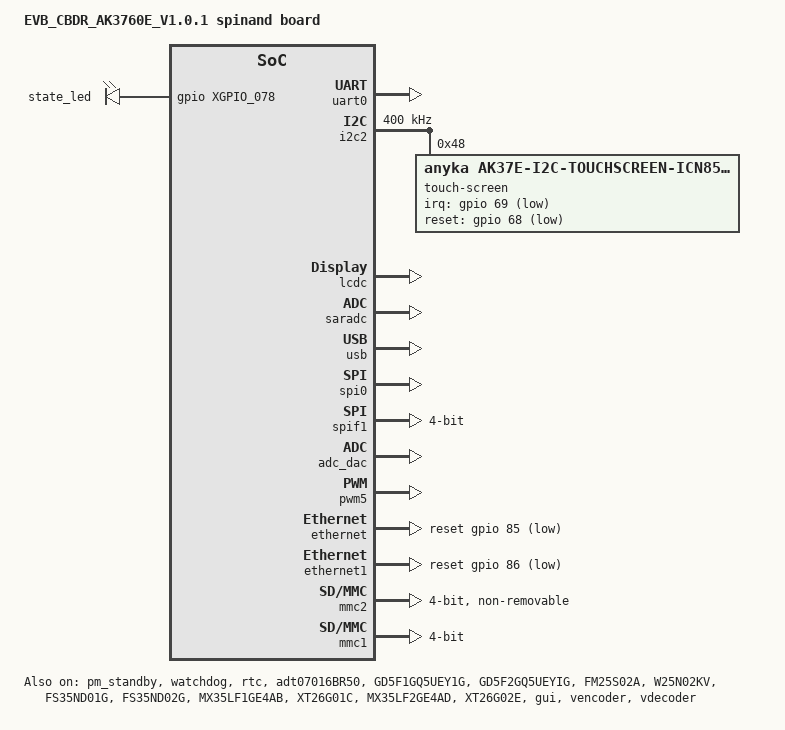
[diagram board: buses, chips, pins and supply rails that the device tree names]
/*
 * Anycloud37e dev board dts
 *
 * Copyright (C) 2020 Anyka(Guangzhou) Microelectronics Technology Co., Ltd.
 *
 * This program is free software; you can redistribute it and/or modify
 * it under the terms of the GNU General Public License as published by
 * the Free Software Foundation; either version 2 of the License, or
 * (at your option) any later version.
 *
 * This program is distributed in the hope that it will be useful,
 * but WITHOUT ANY WARRANTY; without even the implied warranty of
 * MERCHANTABILITY or FITNESS FOR A PARTICULAR PURPOSE.  See the
 * GNU General Public License for more details.
 */

/dts-v1/;
#include "anycloud_ak37e.dtsi"
#include "anycloud_nandflash.dtsi"
#include "anycloud_lcd.dtsi"

/ {
    compatible = "anyka,ak3760e";
    model = "EVB_CBDR_AK3760E_V1.0.1 spinand board";
    version = "V1.0.00";
};

&gpio {
    /*
    * "anyka,function": func index, please refer to dt-bindings/pinctrl/ak_37e_pinctrl.h
    * "anyka,pull": configuration of the pins
    * bit[7:0]: pull up/down configuration
    *     bit[0]: pull up or pull down selection, 1 means select pull down, 0 means select pull up
    *     bit[4]: pull up or pull down enable, 1 means enable pull up&down function, 0 means disable fuction
    * !!! Notice that not all pin support pull up and pull down. Please refer to the programer's guide.
    * bit[15:8]: driver strength configuration.
    *     bit[9:8] drive strength.
    * bit[23:16]: input enable configuration
    *     bit[16]: 1 means enable input, 0 means disable input.
    * bit[31:24]: pin slew rate configuration
    *     bit[24]: 1 means enable slew rate, 0 means disable slew rate.
    * !!! Notice OTHER bits which not mentioned please set to 0.
    */

    /* LCD Panel backlight pin. */
    pwm5_pins: pwm5_pins {
        anyka,pins = <XGPIO_027>;
        anyka,function = <XGPIO_027_FUNC_PWM5>;
        anyka,pull = <0x1000190>;
    };

    pwm5_pins_sleep: pwm5_pins_sleep {
        anyka,pins = <XGPIO_027>;
        anyka,function = <XGPIO_027_FUNC_GPIO27>;
        anyka,pull = <0x00000000>;
    };

    pwm5_pins_idle: pwm5_pins_idle {
        anyka,pins = <XGPIO_027>;
        anyka,function = <XGPIO_027_FUNC_GPIO27>;
        anyka,pull = <0x00000000>;
    };

    /*7 inch Touch Screen  */
    icn85xx_pins: icn85xx_pins {
        anyka,pins = <XGPIO_068 XGPIO_069>;
        anyka,function = <XGPIO_068_FUNC_GPIO68 XGPIO_069_FUNC_GPIO69>;
        anyka,pull = <0x00000010 0x00010010>;
    };

    /*10 inch Touch Screen  */
    gslX680_pins: gslX680_pins {
        anyka,pins = <XGPIO_044 XGPIO_045>;
        anyka,function = <XGPIO_044_FUNC_GPIO44 XGPIO_045_FUNC_GPIO45>;
        anyka,pull = <0x00000010 0x00010010>;
    };

    i2c0_pins: i2c0_pins {
        anyka,pins = <XGPIO_030 XGPIO_031>;
        anyka,function = <XGPIO_030_FUNC_TWI0_SCL XGPIO_031_FUNC_TWI0_SDA>;
        anyka,pull = <0x1010010>;
    };

    /* i2c0_sleep_pins means: pull up or pull down disable; ie disable */
    i2c0_sleep_pins: i2c0_sleep_pins {
        anyka,pins = <XGPIO_030 XGPIO_031>;
        anyka,function = <XGPIO_030_FUNC_GPIO30 XGPIO_031_FUNC_GPIO31>;
        anyka,pull = <0x0000000>;
    };

    i2c2_pins: i2c2_pins {
        anyka,pins = <XGPIO_084 XGPIO_083>;
        anyka,function = <XGPIO_084_FUNC_TWI2_SDA XGPIO_083_FUNC_TWI2_SCL>;
        anyka,pull = <0x1010010>;
    };

    /* i2c2_sleep_pins means: pull up or pull down disable; ie disable */
    i2c2_sleep_pins: i2c2_sleep_pins {
        anyka,pins = <XGPIO_084 XGPIO_083>;
        anyka,function = <XGPIO_084_FUNC_GPIO84 XGPIO_083_FUNC_GPIO83>;
        anyka,pull = <0x0000000>;
    };

    lcd_reset_pins: lcd_reset_pins {
        anyka,pins = <XGPIO_026>;
        anyka,function = <XGPIO_026_FUNC_GPIO26>;
        anyka,pull = <0x01000010>;
    };

    lcd_rgb_pins: lcd_rgb_pins {
        anyka,pins = <XGPIO_074
                        XGPIO_075
                        XGPIO_025
                        XGPIO_024
                        XGPIO_028
                        XGPIO_029
                        XGPIO_055
                        XGPIO_054
                        XGPIO_053
                        XGPIO_052
                        XGPIO_051
                        XGPIO_050
                        XGPIO_049
                        XGPIO_048
                        XGPIO_047
                        XGPIO_046
                        XGPIO_045
                        XGPIO_044
                        XGPIO_043
                        XGPIO_042
                        XGPIO_041
                        XGPIO_040
                        XGPIO_039
                        XGPIO_038
                        XGPIO_037
                        XGPIO_036
                        XGPIO_035
                        XGPIO_034>;
        anyka,function = <XGPIO_074_FUNC_RGB_D23
                            XGPIO_075_FUNC_RGB_D22
                            XGPIO_025_FUNC_RGB_D21
                            XGPIO_024_FUNC_RGB_D20
                            XGPIO_028_FUNC_RGB_D19
                            XGPIO_029_FUNC_RGB_D18
                            XGPIO_055_FUNC_RGB_D17
                            XGPIO_054_FUNC_RGB_D16
                            XGPIO_053_FUNC_RGB_D15
                            XGPIO_052_FUNC_RGB_D14
                            XGPIO_051_FUNC_RGB_D13
                            XGPIO_050_FUNC_RGB_D12
                            XGPIO_049_FUNC_RGB_D11
                            XGPIO_048_FUNC_RGB_D10
                            XGPIO_047_FUNC_RGB_D9
                            XGPIO_046_FUNC_RGB_D8
                            XGPIO_045_FUNC_RGB_D7
                            XGPIO_044_FUNC_RGB_D6
                            XGPIO_043_FUNC_RGB_D5
                            XGPIO_042_FUNC_RGB_D4
                            XGPIO_041_FUNC_RGB_D3
                            XGPIO_040_FUNC_RGB_D2
                            XGPIO_039_FUNC_RGB_D1
                            XGPIO_038_FUNC_RGB_D0
                            XGPIO_037_FUNC_RGB_VOPCLK
                            XGPIO_036_FUNC_RGB_VOHSYNC
                            XGPIO_035_FUNC_RGB_VOVSYNC
                            XGPIO_034_FUNC_RGB_VOGATE
                            >;
        anyka,pull = <0x00000010
                        0x00000010
                        0x00000010
                        0x00000010
                        0x00000010
                        0x00000010
                        0x00000010
                        0x00000010
                        0x00000010
                        0x00000010
                        0x00000010
                        0x00000010
                        0x00000010
                        0x00000010
                        0x00000010
                        0x00000010
                        0x00000010
                        0x00000010
                        0x00000010
                        0x00000010
                        0x00000010
                        0x00000010
                        0x00000010
                        0x00000010
                        0x00000010
                        0x00000010
                        0x00000010
                        0x00000010>;
    };

    lcd_rgb_pins_sleep: lcd_rgb_pins_sleep {
        anyka,pins = <XGPIO_074
                        XGPIO_075
                        XGPIO_025
                        XGPIO_024
                        XGPIO_028
                        XGPIO_029
                        XGPIO_055
                        XGPIO_054
                        XGPIO_053
                        XGPIO_052
                        XGPIO_051
                        XGPIO_050
                        XGPIO_049
                        XGPIO_048
                        XGPIO_047
                        XGPIO_046
                        XGPIO_045
                        XGPIO_044
                        XGPIO_043
                        XGPIO_042
                        XGPIO_041
                        XGPIO_040
                        XGPIO_039
                        XGPIO_038
                        XGPIO_037
                        XGPIO_036
                        XGPIO_035
                        XGPIO_034>;
        anyka,function = <XGPIO_074_FUNC_GPIO74
                            XGPIO_075_FUNC_GPIO75
                            XGPIO_025_FUNC_GPIO25
                            XGPIO_024_FUNC_GPIO24
                            XGPIO_028_FUNC_GPIO28
                            XGPIO_029_FUNC_GPIO29
                            XGPIO_055_FUNC_GPIO55
                            XGPIO_054_FUNC_GPIO54
                            XGPIO_053_FUNC_GPIO53
                            XGPIO_052_FUNC_GPIO52
                            XGPIO_051_FUNC_GPIO51
                            XGPIO_050_FUNC_GPIO50
                            XGPIO_049_FUNC_GPIO49
                            XGPIO_048_FUNC_GPIO48
                            XGPIO_047_FUNC_GPIO47
                            XGPIO_046_FUNC_GPIO46
                            XGPIO_045_FUNC_GPIO45
                            XGPIO_044_FUNC_GPIO44
                            XGPIO_043_FUNC_GPIO43
                            XGPIO_042_FUNC_GPIO42
                            XGPIO_041_FUNC_GPIO41
                            XGPIO_040_FUNC_GPIO40
                            XGPIO_039_FUNC_GPIO39
                            XGPIO_038_FUNC_GPIO38
                            XGPIO_037_FUNC_GPIO37
                            XGPIO_036_FUNC_GPIO36
                            XGPIO_035_FUNC_GPIO35
                            XGPIO_034_FUNC_GPIO34
                            >;
        anyka,pull = <0x00000000>;
    };

    lcd_power_pins: lcd_power_pins {
        anyka,pins = <XGPIO_073>;
        anyka,function = <XGPIO_073_FUNC_GPIO73>;
        anyka,pull = <0x00000010>;
    };

    mci2_pins: mci2_pins {
        anyka,pins = <XGPIO_058 XGPIO_059 XGPIO_060 XGPIO_061 XGPIO_062 XGPIO_063>;
        anyka,function = <  XGPIO_058_FUNC_SD2_D1
                            XGPIO_059_FUNC_SD2_D0
                            XGPIO_060_FUNC_SD2_MCLK
                            XGPIO_061_FUNC_SD2_CMD
                            XGPIO_062_FUNC_SD2_D3
                            XGPIO_063_FUNC_SD2_D2>;
        anyka,pull = <0x1010310>;
    };

    /* mci2_idle_pins  means: pull up or pull down disable; ie disable */
    mci2_idle_pins: mci2_idle_pins {
        anyka,pins = <XGPIO_058 XGPIO_059 XGPIO_060 XGPIO_061 XGPIO_062 XGPIO_063>;
        anyka,function = <  XGPIO_058_FUNC_GPIO58
                            XGPIO_059_FUNC_GPIO59
                            XGPIO_060_FUNC_GPIO60
                            XGPIO_061_FUNC_GPIO61
                            XGPIO_062_FUNC_GPIO62
                            XGPIO_063_FUNC_GPIO63>;
        anyka,pull = <0x00000000>;
    };

    wifi_en_pins: wifi_en_pins {
        anyka,pins = <XGPIO_077>;
        anyka,function = <XGPIO_077_FUNC_GPIO77>;
        anyka,pull = <0x1010310>;
    };

    wifi_rst_pins: wifi_rst_pins {
        anyka,pins = <XGPIO_071>;
        anyka,function = <XGPIO_071_FUNC_GPIO71>;
        anyka,pull = <0x1010310>;
    };

    mci1_pins: mci1_pins {
        anyka,pins = <XGPIO_016 XGPIO_017 XGPIO_018 XGPIO_019 XGPIO_020 XGPIO_021>;
        anyka,function = <XGPIO_016_FUNC_SD1_D1
                            XGPIO_017_FUNC_SD1_D0
                            XGPIO_018_FUNC_SD1_MCLK
                            XGPIO_019_FUNC_SD1_CMD
                            XGPIO_020_FUNC_SD1_D3
                            XGPIO_021_FUNC_SD1_D2>;
        anyka,pull = <0x00010010 0x00010010 0x00010001 0x00010010 0x00010010 0x00010010>;
    };

    /* mci1_idle_pins  means: pull up or pull down disable; ie disable */
    mci1_idle_pins: mci1_idle_pins {
        anyka,pins = <XGPIO_016 XGPIO_017 XGPIO_018 XGPIO_019 XGPIO_020 XGPIO_021>;
        anyka,function = <XGPIO_016_FUNC_GPIO16
                            XGPIO_017_FUNC_GPIO17
                            XGPIO_018_FUNC_GPIO18
                            XGPIO_019_FUNC_GPIO19
                            XGPIO_020_FUNC_GPIO20
                            XGPIO_021_FUNC_GPIO21>;
        anyka,pull = <0x00000000>;
    };

    tf_det_pins: tf_det_pins{
        anyka,pins = <XGPIO_076>;
        anyka,function = <XGPIO_076_FUNC_GPIO76>;
        anyka,pull = <0x1010310>;
    };

    tf_en_pins: tf_en_pins {
        anyka,pins = <XGPIO_079>;
        anyka,function = <XGPIO_079_FUNC_GPIO79>;
        anyka,pull = <0x1010310>;
    };

    led_pins:led_pins {
        anyka,pins = <XGPIO_078>;
        anyka,function = <XGPIO_078_FUNC_GPIO78>;
        anyka,pull = <0x00000010>;
    };

    led_pins_sleep:led_pins_sleep {
        anyka,pins = <XGPIO_078>;
        anyka,function = <XGPIO_078_FUNC_GPIO78>;
        anyka,pull = <0x00000000>;
    };

    speak_pins: speak_pins {
        anyka,pins = <XGPIO_072>;
        anyka,function = <XGPIO_072_FUNC_GPIO72>;
        anyka,pull = <0x00000010>;
    };

    speak_pins_sleep: speak_pins_sleep {
        anyka,pins = <XGPIO_072>;
        anyka,function = <XGPIO_072_FUNC_GPIO72>;
        anyka,pull = <0x00000000>;
    };


    dvp0_8bits_pins: dvp0_8bits_pins {
        anyka,pins = <XGPIO_060
                        XGPIO_061
                        XGPIO_062
                        XGPIO_063
                        XGPIO_064
                        XGPIO_065
                        XGPIO_066
                        XGPIO_067>;
        anyka,function = <XGPIO_060_FUNC_CSI0_D0
                        XGPIO_061_FUNC_CSI0_D1
                        XGPIO_062_FUNC_CSI0_D2
                        XGPIO_063_FUNC_CSI0_D3
                        XGPIO_064_FUNC_CSI0_D4
                        XGPIO_065_FUNC_CSI0_D5
                        XGPIO_066_FUNC_CSI0_D6
                        XGPIO_067_FUNC_CSI0_D7>;
        anyka,pull = <0x01010310>;
    };

    csi0_sclk_pin: csi0_sclk_pin {
        anyka,pins = <XGPIO_056
                        XGPIO_057
                        XGPIO_058
                        XGPIO_059>;
        anyka,function = <XGPIO_056_FUNC_CSI0_SCLK
                        XGPIO_057_FUNC_CSI0_PCLK
                        XGPIO_058_FUNC_CSI0_HSYNC
                        XGPIO_059_FUNC_CSI0_VSYNC>;
        anyka,pull = <0x01010310>;
    };

    sensor0_reset_pins: sensor0_reset_pins {
        anyka,pins = <XGPIO_032>;
        anyka,function = <XGPIO_032_FUNC_GPIO32>;
        anyka,pull = <0x01000110>;
    };

    sensor0_pwdn_pins: sensor0_pwdn_pins {
        anyka,pins = <XGPIO_071>;
        anyka,function = <XGPIO_071_FUNC_GPIO71>;
        anyka,pull = <0x01000110>;
    };

    pm_wakeup_pins: pm_wakeup_pins {
        anyka,pins = <XGPIO_031>;
        anyka,function = <XGPIO_031_FUNC_GPIO31>;
        anyka,pull = <0x01010210>;
    };
};

&pm_standby {
    pinctrl-names = "default";
    pinctrl-0 = <&pm_wakeup_pins>;

    /* linux kernel standby wakeup mode
    * wakeup mode:0x0:no_src, 0x1:GPIO, 0x2:rtc alarm, 0x3:ain0, 0x4:rtc timer
    */
    //wakeup-mode = <0x1>;
    wakeup-mode = <0x1 0x2 0x3 0x4>;

    wakeup-gpio = <&gpio XGPIO_031 1>;

    /*
    * wakeup gpio trigger: 0x0:rising-edge,0x1:falling-edge, 
    */
    wakeup-gpio-edge = <0x1>;

    /*
    * wakeup ain0 trigger: 0x0:falling-edge, 0x1:rising-edge
    */
    wakeup-ain0-edge = <0x0>;

    status = "okay";
};

&uart0 {
    pinctrl-names = "default";
    pinctrl-0 = <&uart0_pins>;
    status = "okay";
};

&watchdog {
    /*max feed dog time = 357s, default setting time = 10s. */
    def_heartbeat = <10>;
    status = "okay";
};

&rtc {
    /*
     * rtc osc_source_select, 1 means INTERNAL RC OSC, 0 means EXTERNAL XTAL
     * if internal RC OSC is used to generate 32KH,time adjustment should be setting.(basic unit: ms)
     */
    osc-select = <1>;
    adjust-time = <1000>;
    adjust-based-on-timer;
    status = "okay";
};

&i2c2 {
    pinctrl-names = "default","sleep";
    pinctrl-0 = <&i2c2_pins>;
    pinctrl-1 = <&i2c2_sleep_pins>;

    clock-frequency = <400000>;
    sda-delay = <100>;
    status = "okay";
    #address-cells = <1>;
    #size-cells = <0>;

    touch-screen@40 {
        compatible = "anyka,ak37e-i2c-touchscreen-gslX680";
        reg = <0x40>;

        /* 10 inch MIPI touch-pane irq and reset gpio setting */
        pinctrl-names = "default";
        pinctrl-0 = <&gslX680_pins>;
        irq-gpio = <&gpio 45 1>;
        reset-gpio = <&gpio 44 1>;
        TP_MAX_X = <1280>;
        TP_MAX_Y = <800>;
        status = "disable";
      };

      touch-screen@48 {
        compatible = "anyka,ak37e-i2c-touchscreen-icn85xx";
        reg = <0x48>;

        /* 7 inch RGB touch-pane irq and reset gpio setting */
        pinctrl-names = "default";
        pinctrl-0 = <&icn85xx_pins>;
        irq-gpio = <&gpio 69 1>;
        reset-gpio = <&gpio 68 1>;
        TP_MAX_X = <1024>;
        TP_MAX_Y = <600>;
        status = "okay";
      };
};

/* RGB panel*/
&lcdc {
    pinctrl-names = "default","sleep";
    pinctrl-0 = <&lcd_rgb_pins &lcd_reset_pins &lcd_power_pins>;
    pinctrl-1 = <&lcd_rgb_pins_sleep &lcd_reset_pins &lcd_power_pins>;
    reset-pins = <&gpio 26 GPIO_ACTIVE_LOW>;
    pwr-gpio = <&gpio 73 GPIO_ACTIVE_LOW>;
    backlight-gpio = <&gpio 27 GPIO_ACTIVE_HIGH>;

    lcd-logo-width = <600>;
    lcd-logo-height = <165>;
    //[fmt1:fmt0] 00 16bits input(RGB565 or BGR565)
    //[fmt1:fmt0] 01 24bits input(RGB888 or BGR888)
    //[fmt1:fmt0] 10 or 11 32bits input(ARGB888 ABGR888 RGBA888 BGRA888)
    lcd-logo-fmt0 = <1>;
    lcd-logo-fmt1 = <0>;
    lcd-logo-rgb-seq = <1>; //0 for BGR, 1 for RGB

    lcd-fb-type = <1>; //0:single buffer; 1:double buffer
    status = "okay";
};

/* 7 inch rgb */
&adt07016BR50 {
    panel-pclk-div = <9>;
    status = "okay";
};

&saradc{
    /* SAR ADC VREF selection
    * 0:To select AVCC 3.3V as VREF for SAR ADC.
    * 1:To select 3.0V generated from BGR as VREF for SAR ADC.
    */
    vref-select = <0>;
    /*
    * 0:To disable BAT voltage divider.
    * 1:To enable BAT voltage divider divided by 2.
    */
    battery-divider = <1>;
    /*
    * Sampling number
    * Read the sampling data for N times and then calculate the average value.
    * N ranges from 1 to 7.
    */
    sampling-num = <3>;
    status = "okay";
};

&usb {
    status = "okay";
};

&spi0 {
    pinctrl-names = "default","sleep";
    pinctrl-0 = <&spiflash_pins>;
    pinctrl-1 = <&spiflash_pins_sleep>;
    spi-bus-frequency = <80000000>;
    /*
     * cap-spi-highspeed;
     * if defined, means high speed controller(Maximum 80M/s);
     * if not, means normal speed controller(below 60M/s)
     */
    cap-spi-highspeed;
    status = "okay";
};

&spif1 {
    /* spi flash data bus width:
    ** 1 means 1 wire mode.
    ** 2 means 2 wire mode
    ** 4 means 4 wire mode.
    ** default: 4 wire mode.
    **/
    bus-width = <4>;
    /*
    * Notice:
    * AK37XXE will start with CS0.
    * So when we use the single Nand, need to the NAND as the Chip select 0
    */
    reg = <0>;
    status = "okay";
};

&GD5F1GQ5UEY1G{
    status = "okay";
};

&GD5F2GQ5UEYIG{
    status = "okay";
};

&FM25S02A{
    status = "okay";
};

&W25N02KV{
    status = "okay";
};

&FS35ND01G{
    status = "okay";
};

&FS35ND02G{
    status = "okay";
};

&MX35LF1GE4AB{
    status = "okay";
};

&XT26G01C{
    status = "okay";
};

&MX35LF2GE4AD{
    status = "okay";
};

&XT26G02E{
    status = "okay";
};

&adc_dac {
    pinctrl-names = "default", "sleep";
    pinctrl-0 = <&speak_pins>;
    pinctrl-1 = <&speak_pins_sleep>;
    speak-gpios = <&gpio XGPIO_072 1>;
    /*
    * The level of speak-gpios votage for power on audio: 0=low, 1=high
    */
    speak-gpios-en = <1>;
    status = "okay";

    dev0 {
        snd-dev = <SND_CARD_DAC_PLAYBACK>;
        snd-type = <AK_PCM_DEV_PLAYBACK>;
    };

    dev1 {
        snd-dev = <SND_CARD_ADC_CAPTURE>;
        snd-type = <AK_PCM_DEV_CAPTURE>;
    };

    dev2 {
        snd-dev = <SND_CARD_DAC_LOOPBACK>;
        snd-type = <AK_PCM_DEV_LOOPBACK>;
    };
};

&pwm0 {
    //pinctrl-names = "default", "idle";
    //pinctrl-0 = <&pwm0_pins>;
    //pinctrl-1 = <&pwm0_pins_idle>;
    /*
    * frequency of PWM ranges from 92/256Hz(0.36Hz) to 6MHz.
    * duty of PWM ranges from 1 to 65535.
    * Minimum duty cycle:1/65536
    * Maximum duty cyscle:65535/65536.
    * period-ns: period of the PWM signal (in nanoseconds)
    * duty-ns: duty cycle of the PWM signal (in nanoseconds)
    * pwm-enable = 0 means disable pwm function.
    * pwm-enable = 1 means enable pwm function.
    */
    period-ns = <1000000>;
    duty-ns = <500000>;
    pwm-enable = <1>;
    status = "disable";
};

&pwm1 {
    //pinctrl-names = "default", "idle";
    //pinctrl-0 = <&pwm1_pins>;
    //pinctrl-1 = <&pwm1_pins_idle>;
    /*
    * frequency of PWM ranges from 92/256Hz(0.36Hz) to 6MHz.
    * duty of PWM ranges from 1 to 65535.
    * Minimum duty cycle:1/65536
    * Maximum duty cyscle:65535/65536.
    * period-ns: period of the PWM signal (in nanoseconds)
    * duty-ns: duty cycle of the PWM signal (in nanoseconds)
    * pwm-enable = 0 means disable pwm function.
    * pwm-enable = 1 means enable pwm function.
    */
    period-ns = <1000000>;
    duty-ns = <500000>;
    pwm-enable = <1>;
    status = "disable";
};

&pwm2 {
    //pinctrl-names = "default", "idle";
    //pinctrl-0 = <&pwm2_pins>;
    //pinctrl-1 = <&pwm2_pins_idle>;
    /*
    * frequency of PWM ranges from 92/256Hz(0.36Hz) to 6MHz.
    * duty of PWM ranges from 1 to 65535.
    * Minimum duty cycle:1/65536
    * Maximum duty cyscle:65535/65536.
    * period-ns: period of the PWM signal (in nanoseconds)
    * duty-ns: duty cycle of the PWM signal (in nanoseconds)
    * pwm-enable = 0 means disable pwm function.
    * pwm-enable = 1 means enable pwm function.
    */
    period-ns = <1000000>;
    duty-ns = <500000>;
    pwm-enable = <1>;
    status = "disable";
};

&pwm3 {
    //pinctrl-names = "default", "idle";
    //pinctrl-0 = <&pwm3_pins>;
    //pinctrl-1 = <&pwm3_pins_idle>;
    /*
    * frequency of PWM ranges from 92/256Hz(0.36Hz) to 6MHz.
    * duty of PWM ranges from 1 to 65535.
    * Minimum duty cycle:1/65536
    * Maximum duty cyscle:65535/65536.
    * period-ns: period of the PWM signal (in nanoseconds)
    * duty-ns: duty cycle of the PWM signal (in nanoseconds)
    * pwm-enable = 0 means disable pwm function.
    * pwm-enable = 1 means enable pwm function.
    */
    period-ns = <1000000>;
    duty-ns = <500000>;
    pwm-enable = <1>;
    status = "disable";
};

&pwm4 {
    //pinctrl-names = "default", "idle";
    //pinctrl-0 = <&pwm4_pins>;
    //pinctrl-1 = <&pwm4_pins_idle>;
    /*
    * frequency of PWM ranges from 92/256Hz(0.36Hz) to 6MHz.
    * duty of PWM ranges from 1 to 65535.
    * Minimum duty cycle:1/65536
    * Maximum duty cyscle:65535/65536.
    * period-ns: period of the PWM signal (in nanoseconds)
    * duty-ns: duty cycle of the PWM signal (in nanoseconds)
    * pwm-enable = 0 means disable pwm function.
    * pwm-enable = 1 means enable pwm function.
    */
    period-ns = <1000000>;
    duty-ns = <500000>;
    pwm-enable = <1>;
    status = "disable";
};

&pwm5 {
    pinctrl-names = "default", "sleep", "idle";
    pinctrl-0 = <&pwm5_pins>;
    pinctrl-1 = <&pwm5_pins_sleep>;
    pinctrl-2 = <&pwm5_pins_idle>;
    /*
    * frequency of PWM ranges from 92/256Hz(0.36Hz) to 6MHz.
    * duty of PWM ranges from 1 to 65535.
    * Minimum duty cycle:1/65536
    * Maximum duty cyscle:65535/65536.
    * period-ns: period of the PWM signal (in nanoseconds)
    * duty-ns: duty cycle of the PWM signal (in nanoseconds)
    * pwm-enable = 0 means disable pwm function.
    * pwm-enable = 1 means enable pwm function.
    */
    period-ns = <1000000>;
    duty-ns = <500000>;
    pwm-enable = <1>;
    status = "okay";
};

&ethernet {
    pinctrl-names = "default", "sleep";
    pinctrl-0 = <&ethernet_rmii0_pins &ethernet_rmii0_rst_pins>;
    pinctrl-1 = <&ethernet_rmii0_pins_sleep &ethernet_rmii0_rst_pins_sleep>;
    reset-gpios = <&gpio 85 1>;
    phy-address = <1>;
    status = "okay";
};

&ethernet1 {
    pinctrl-names = "default", "sleep";
    pinctrl-0 = <&ethernet_rmii1_pins &ethernet_rmii1_rst_pins>;
    pinctrl-1 = <&ethernet_rmii1_pins_sleep &ethernet_rmii1_rst_pins_sleep>;
    reset-gpios = <&gpio 86 1>;
    phy-address = <1>;
    status = "okay";
};

&gui{
    status = "okay";
};

&mmc2 {
    bus-width = <0x4>;
    max-frequency = <50000000>;
    /*
     *  detect mode:
     *  (1) non-removable;
     *  (2) detect-gpio/detect-gpios: card detect using gpio
     *      for example:
     *      detect-gpio = <&gpio 76 1>;  or detect-gpios = <&gpio 76 1>;
     *  (3) cd_clk: card detect using MCLK
     */
    non-removable;
    /* if support highspeed, using cap-sd-highspeed */
    cap-sd-highspeed;
    /* if support sdio, using cap-sdio-irq*/
    cap-sdio-irq;
    pinctrl-names = "default","idle";

    /*
    * support sdio wifi circuit enable function
    */
    pinctrl-0 = <&mci2_pins>,<&wifi_en_pins>,<&wifi_rst_pins>;
    pinctrl-1 = <&mci2_idle_pins>;
    power-pins = <&gpio 77 1>;  //power-pins is which wifi_en_pins describes
    rst-pins =   <&gpio 71 1>;  //power-pins is which wifi_rst_pins describes
    status = "okay";
};

&mmc1 {
    bus-width = <0x4>;
    max-frequency = <50000000>;
    /*
     *  detect mode:
     *  (1) non-removable;
     *  (2) detect-gpio/detect-gpios: card detect using gpio
     *      for example:
     *      detect-gpio = <&gpio 76 1>;  or detect-gpios = <&gpio 76 1>;
     *  (3) cd_clk: card detect using MCLK
     */
    detect-gpio = <&gpio 76 1>;
    /* if support highspeed, using cap-sd-highspeed */
    cap-sd-highspeed;
    pinctrl-names = "default","idle";
    /*pinctrl-0 = <&mci1_pins>,<&tf_en_pins>;*/
    pinctrl-0 = <&mci1_pins>,<&tf_en_pins>,<&tf_det_pins>;
    pinctrl-1 = <&mci1_idle_pins>;
    /*
    * support tf card circuit enable function
    */
    power-pins = <&gpio 79 1>;      //power-pins is which tf_en_pins describes
    power-inverted;
    status = "okay";
};

&vencoder {
    status = "okay";
};

&vdecoder{
    status = "okay";
};

&adkeys {
    /*
    * poll interval: ms
    * debounce interval: ms
    */
    interval = <120>;
    debounce_interval = <20>;
    /*
    * if pressed-input = 0, input 0 when key is pressed, else input 1.
    */
    pressed-input = <0>;
    status = "okay";

    addet0 {
        unpress_min = <0>;
        unpress_max = <3200>;
        adc_index = <1>;
        adc_channel = <0>;

        key1 {
            linux,code = <102>; /*HOME*/
            min = <0>;
            max = <50>;
        };

        key2 {
            linux,code = <103>; /*UP*/
            min = <478>;
            max = <708>;
        };

        key3 {
            linux,code = <108>; /*DOWN*/
            min = <1020>;
            max = <1320>;
        };

        key4 {
            linux,code = <105>; /*LEFT*/
            min = <1510>;
            max = <1810>;
        };

        key5 {
            linux,code = <106>; /*RIGHT*/
            min = <1980>;
            max = <2280>;
        };

        key6 {
            linux,code = <28>; /*OK*/
            min = <2460>;
            max = <2760>;
        };

        key7 {
            linux,code = <158>; /*RETURN*/
            min = <2850>;
            max = <3100>;
        };
    };
};

&leds {
    pinctrl-names = "default", "sleep";
    pinctrl-0 = <&led_pins>;
    pinctrl-1 = <&led_pins_sleep>;
    status = "okay";

    state_led {
        label = "state_led";
        gpios = <&gpio XGPIO_078 GPIO_ACTIVE_HIGH>;
        default-state = "off";
    };
};

&i2c0 {
    pinctrl-names = "default","sleep";
    pinctrl-0 = <&i2c0_pins>;
    pinctrl-1 = <&i2c0_sleep_pins>;

    clock-frequency = <400000>;
    sda-delay = <100>;
    status = "disable";
    #address-cells = <1>;
    #size-cells = <0>;

    sensor0: camera@0x42{
        compatible = "anyka,sensor0";
        reg = <0x42>;
        pinctrl-names = "default";
        pinctrl-0 = <&sensor0_reset_pins &sensor0_pwdn_pins>;
        /*
        * 0xFFFF means the gpio is invalid
        */
        reset-gpio = <&gpio XGPIO_032 1>;
        pwdn-gpio = <&gpio XGPIO_071 1>;

        port {
            sensor0_0: endpoint@0 {
                remote-endpoint = <&vi_0_0>;
            };
        };
    };
};

&vi0 {
    pinctrl-names = "default", "dvp0_8bits", "csi0_sclk";
    pinctrl-0 = <&dvp0_8bits_pins &csi0_sclk_pin>;
    pinctrl-1 = <&dvp0_8bits_pins>;
    pinctrl-2 = <&csi0_sclk_pin>;
    status = "disable";

    port@0 {
        #address-cells = <1>;
        #size-cells = <0>;

        vi_0_0: endpoint@0 {
            reg = <0>;
            remote-endpoint = <&sensor0_0>;
        };
    };
};
